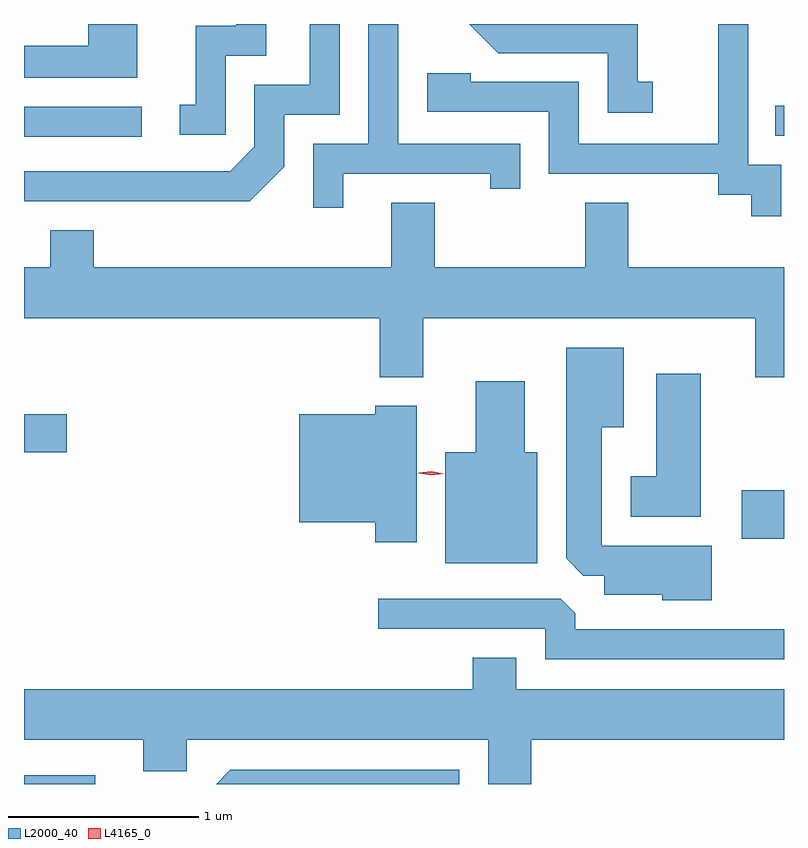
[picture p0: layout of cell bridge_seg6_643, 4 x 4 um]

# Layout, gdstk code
import gdstk
lib = gdstk.Library(unit=1e-6, precision=1e-09)
def R(c, l, rs):  # rectangles x0, y0, x1, y1
    for r in rs: c.add(gdstk.rectangle(r[:2], r[2:], *l))
def P(c, l, *ps):  # polygons
    for p in ps: c.add(gdstk.Polygon(p, *l))
L2000_40 = (2000, 40)
L4165_0 = (4165, 0)

bridge_seg6_643 = lib.new_cell('bridge_seg6_643')
R(bridge_seg6_643, L2000_40, [(265.988,1636.384,266.363,1636.429), (269.766,1637.676,269.988,1637.929), (265.988,1638.131,266.214,1638.329), (265.988,1639.791,266.608,1639.949), (269.943,1639.796,269.988,1639.954)])
P(bridge_seg6_643, L2000_40, [(269.974,1639.644),(269.799,1639.644),(269.799,1640.384),(269.641,1640.384),(269.641,1639.754),(268.909,1639.754),(268.909,1640.079),(268.339,1640.079),(268.339,1640.124),(268.111,1640.124),(268.111,1639.921),(268.751,1639.921),(268.751,1639.596),(269.641,1639.596),(269.641,1639.486),(269.816,1639.486),(269.816,1639.373),(269.974,1639.373)],
  [(269.298,1640.079),(269.219,1640.079),(269.219,1640.384),(268.331,1640.384),(268.484,1640.231),(269.061,1640.231),(269.061,1639.916),(269.298,1639.916)],
  [(267.669,1639.596),(268.441,1639.596),(268.441,1639.518),(268.599,1639.518),(268.599,1639.754),(267.959,1639.754),(267.959,1640.384),(267.801,1640.384),(267.801,1639.754),(267.511,1639.754),(267.511,1639.418),(267.669,1639.418)],
  [(267.049,1640.216),(267.264,1640.216),(267.264,1640.384),(267.106,1640.384),(267.106,1640.374),(266.891,1640.374),(266.891,1639.959),(266.808,1639.959),(266.808,1639.801),(267.049,1639.801)],
  [(266.584,1640.384),(266.326,1640.384),(266.326,1640.269),(265.988,1640.269),(265.988,1640.101),(266.584,1640.101)],
  [(267.359,1639.634),(267.359,1639.906),(267.649,1639.906),(267.649,1640.384),(267.491,1640.384),(267.491,1640.064),(267.201,1640.064),(267.201,1639.737),(267.074,1639.609),(265.988,1639.609),(265.988,1639.451),(267.177,1639.451)],
  [(268.089,1638.836),(269.836,1638.836),(269.836,1638.526),(269.988,1638.526),(269.988,1639.104),(269.169,1639.104),(269.169,1639.444),(268.941,1639.444),(268.941,1639.104),(268.149,1639.104),(268.149,1639.444),(267.921,1639.444),(267.921,1639.104),(266.354,1639.104),(266.354,1639.299),(266.126,1639.299),(266.126,1639.104),(265.988,1639.104),(265.988,1638.836),(267.861,1638.836),(267.861,1638.526),(268.089,1638.526)],
  [(269.609,1637.639),(269.029,1637.639),(269.029,1638.261),(269.144,1638.261),(269.144,1638.679),(268.841,1638.679),(268.841,1637.572),(268.932,1637.481),(269.041,1637.481),(269.041,1637.381),(269.346,1637.381),(269.346,1637.351),(269.609,1637.351)],
  [(269.549,1638.544),(269.316,1638.544),(269.316,1638.004),(269.181,1638.004),(269.181,1637.791),(269.549,1637.791)],
  [(268.689,1638.129),(268.624,1638.129),(268.624,1638.504),(268.366,1638.504),(268.366,1638.129),(268.206,1638.129),(268.206,1637.546),(268.689,1637.546)],
  [(268.054,1638.374),(267.836,1638.374),(267.836,1638.329),(267.436,1638.329),(267.436,1637.761),(267.836,1637.761),(267.836,1637.656),(268.054,1637.656)],
  [(269.988,1637.199),(268.889,1637.199),(268.889,1637.284),(268.814,1637.359),(267.853,1637.359),(267.853,1637.201),(268.731,1637.201),(268.731,1637.041),(269.988,1637.041)],
  [(268.659,1636.616),(269.988,1636.616),(269.988,1636.884),(268.579,1636.884),(268.579,1637.049),(268.351,1637.049),(268.351,1636.884),(265.988,1636.884),(265.988,1636.616),(266.616,1636.616),(266.616,1636.451),(266.844,1636.451),(266.844,1636.616),(268.431,1636.616),(268.431,1636.384),(268.659,1636.384)],
  [(268.279,1636.459),(267.074,1636.459),(266.999,1636.384),(268.279,1636.384)])
P(bridge_seg6_643, L4165_0, [(268.131,1638.009),(268.066,1638.02),(268.066,1638.021),(268.066,1638.021),(268.131,1638.029),(268.196,1638.018),(268.196,1638.017),(268.196,1638.017)])

lib.write_gds('bridge_seg6_643.gds')
